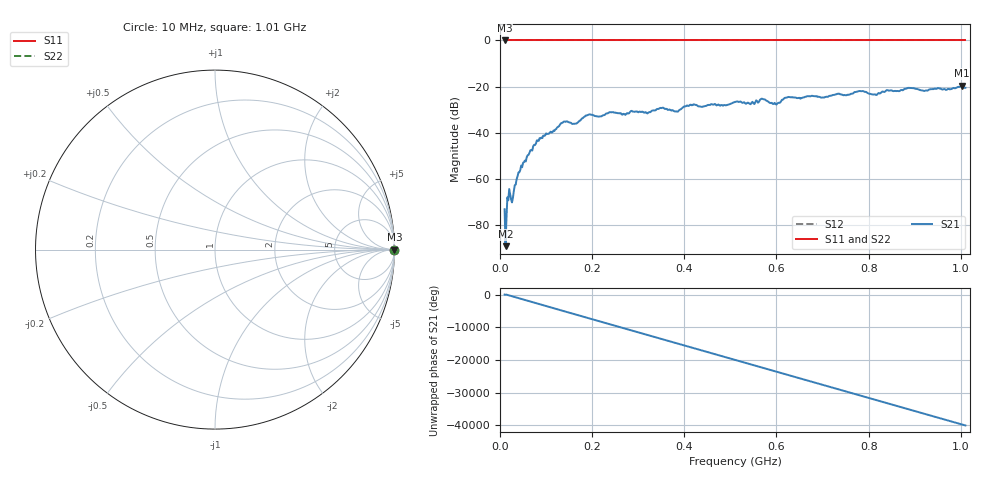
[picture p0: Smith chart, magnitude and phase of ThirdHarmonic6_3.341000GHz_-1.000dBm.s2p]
! 8/17/2025 10:31:19 AM
! C:\ANRITSUVNA\TEMP\TEMP.S2P
! CHANNEL.1
! TR.MEASUREMENT
! RAW.DATA
! RF.CORRECTION.OFF
! AVERAGING.OFF
! IF.BANDWIDTH: 5KHZ
! SWEEPTYPE:  FREQ.SWEEP(Linear)
! Reference Plane Port Info
! PORT:  PORT1  PORT2
! DISTANCE:  0  m  0  m
! TIME:  0  s  0  s
! PHASE.OFFSET:  0  deg.  0  deg.
! LOSS:  0  dB  0  dB
! REF.LOSS:  0  dB  0  dB
! REF.FREQ:  0  Hz  0  Hz
! Power Info
! POWER:  -20  dBm  -20  dBm
! EFF.POWER:  -20  dBm  -20  dBm
! SOURCE.ATTEN:  0  dB  0  dB
! TEST.ATTEN:  0  dB  0  dB
# GHZ S RI R 50.0
! FREQ.GHZ  S11RE  S11IM  S21RE  S21IM  S12RE  S12IM  S22RE  S22IM
!; PortSelection: Port_12
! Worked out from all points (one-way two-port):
!   501 points, 10 MHz to 1.01 GHz, reference 50 ohm
!   highest |S21| = -19.56 dB at 1.002 GHz (marker M1); lowest = -89.3 dB at 12 MHz (marker M2)
!   lowest |S11| = 0.0 dB at 10 MHz (marker M3)
!   |S11| at or under -10 dB: nowhere
!   |S22| runs from 0.0 to 0.0 dB; largest |S21 - S12| = 1.1
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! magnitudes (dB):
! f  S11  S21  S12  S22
! 10 MHz  0.0  -73.3  0.0  0.0
! 12 MHz  0.0  -89.3  0.0  0.0
! 20 MHz  0.0  -64.5  0.0  0.0
! 28 MHz  0.0  -68.4  0.0  0.0
! 42 MHz  0.0  -57.2  0.0  0.0
! 78 MHz  0.0  -44.8  0.0  0.0
! 136 MHz  0.0  -35.7  0.0  0.0
! 162 MHz  0.0  -36.2  0.0  0.0
! 178 MHz  0.0  -33.9  0.0  0.0
! 344 MHz  0.0  -29.8  0.0  0.0
! 382 MHz  0.0  -30.7  0.0  0.0
! 416 MHz  0.0  -28.2  0.0  0.0
! 510 MHz  0.0  -26.7  0.0  0.0
! 570 MHz  0.0  -25.4  0.0  0.0
! 596 MHz  0.0  -27.1  0.0  0.0
! 622 MHz  0.0  -24.8  0.0  0.0
! 678 MHz  0.0  -24.1  0.0  0.0
! 782 MHz  0.0  -22.0  0.0  0.0
! 814 MHz  0.0  -23.4  0.0  0.0
! 844 MHz  0.0  -21.8  0.0  0.0
! 1.002 GHz  0.0  -19.6  0.0  0.0
! 1.01 GHz  0.0  -20.5  0.0  0.0
